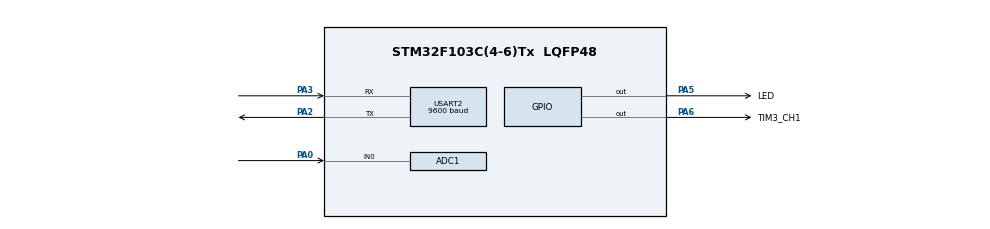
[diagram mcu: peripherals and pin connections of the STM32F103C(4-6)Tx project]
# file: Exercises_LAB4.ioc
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ADC1.Channel-0\#ChannelRegularConversion=ADC_CHANNEL_0
ADC1.ContinuousConvMode=ENABLE
ADC1.NbrOfConversionFlag=1
ADC1.Rank-0\#ChannelRegularConversion=1
ADC1.SamplingTime-0\#ChannelRegularConversion=ADC_SAMPLETIME_1CYCLE_5
ADC1.master=1
Mcu.Family=STM32F1
Mcu.Name=STM32F103C(4-6)Tx
Mcu.Package=LQFP48
NVIC.PriorityGroup=NVIC_PRIORITYGROUP_4
NVIC.TIM2_IRQn=true\:0\:0\:false\:false\:true\:true\:true
NVIC.USART2_IRQn=true\:0\:0\:false\:false\:true\:true\:true
PA0-WKUP.Signal=ADCx_IN0
PA2.Mode=Asynchronous
PA2.Signal=USART2_TX
PA3.Mode=Asynchronous
PA3.Signal=USART2_RX
PA5.GPIO_Label=LED
PA5.Signal=GPIO_Output
PA6.GPIO_Label=TIM3_CH1
PA6.Signal=GPIO_Output
ProjectManager.HeapSize=0x200
ProjectManager.StackSize=0x400
ProjectManager.TargetToolchain=STM32CubeIDE
RCC.APB1Freq_Value=8000000
RCC.APB2Freq_Value=8000000
SH.ADCx_IN0.0=ADC1_IN0,IN0
TIM2.Period=10
TIM2.Prescaler=7999
USART2.BaudRate=9600
USART2.VirtualMode=VM_ASYNC
VP_SYS_VS_ND.Mode=No_Debug
VP_TIM2_VS_ClockSourceINT.Mode=Internal
board=custom

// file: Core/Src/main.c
/* USER CODE BEGIN Header */
/**
  ******************************************************************************
  * @file           : main.c
  * @brief          : Main program body
  ******************************************************************************
  * @attention
  *
  * <h2><center>&copy; Copyright (c) 2023 STMicroelectronics.
  * All rights reserved.</center></h2>
  *
  * This software component is licensed by ST under BSD 3-Clause license,
  * the "License"; You may not use this file except in compliance with the
  * License. You may obtain a copy of the License at:
  *                        opensource.org/licenses/BSD-3-Clause
  *
  ******************************************************************************
  */
/* USER CODE END Header */
#include "main.h"

/* USER CODE BEGIN Includes */
#include <stdio.h>
#include <stdlib.h>
#include <string.h>
#include "software_timer.h"
#include "fsm.h"
/* USER CODE END Includes */

ADC_HandleTypeDef hadc1;

TIM_HandleTypeDef htim2;

UART_HandleTypeDef huart2;

void SystemClock_Config(void);
static void MX_GPIO_Init(void);
static void MX_ADC1_Init(void);
static void MX_USART2_UART_Init(void);
static void MX_TIM2_Init(void);

/* USER CODE BEGIN 0 */
void HAL_UART_RxCpltCallback(UART_HandleTypeDef *huart)
{
	if(huart->Instance == USART2)
	{
		HAL_UART_Transmit(&huart2, &buffer_var, 1, 100);
		buffer[index_buffer++] = buffer_var;
		if(index_buffer == MAX_BUFFER)
			index_buffer = 0;
		buffer_flag = 1;
		HAL_UART_Receive_IT(&huart2, &buffer_var, 1);
	}
}
/* USER CODE END 0 */

int main(void)
{

  /* MCU Configuration--------------------------------------------------------*/

  /* Reset of all peripherals, Initializes the Flash interface and the Systick. */
  HAL_Init();

  /* Configure the system clock */
  SystemClock_Config();

  /* Initialize all configured peripherals */
  MX_GPIO_Init();
  MX_ADC1_Init();
  MX_USART2_UART_Init();
  MX_TIM2_Init();
  /* USER CODE BEGIN 2 */
  HAL_TIM_Base_Start_IT(&htim2);
  HAL_UART_Receive_IT(&huart2, &buffer_var, 1);
  HAL_ADC_Start(&hadc1);
  setTimer2(100);
  /* USER CODE END 2 */

  /* Infinite loop */
  while (1)
  {

	  if (timer2_flag == 1)
	  {
		  HAL_GPIO_TogglePin(LED_GPIO_Port, LED_Pin);
		  setTimer2(100);
	  }
	  if (buffer_flag == 1)
	  {
		  command_parser_fsm();

		  buffer_flag = 0;
	  }
	  uart_communication_fsm();

  }
}

void SystemClock_Config(void)
{
  RCC_OscInitTypeDef RCC_OscInitStruct = {0};
  RCC_ClkInitTypeDef RCC_ClkInitStruct = {0};
  RCC_PeriphCLKInitTypeDef PeriphClkInit = {0};

  /** Initializes the RCC Oscillators according to the specified parameters
  * in the RCC_OscInitTypeDef structure.
  */
  RCC_OscInitStruct.OscillatorType = RCC_OSCILLATORTYPE_HSI;
  RCC_OscInitStruct.HSIState = RCC_HSI_ON;
  RCC_OscInitStruct.HSICalibrationValue = RCC_HSICALIBRATION_DEFAULT;
  RCC_OscInitStruct.PLL.PLLState = RCC_PLL_NONE;
  if (HAL_RCC_OscConfig(&RCC_OscInitStruct) != HAL_OK)
  {
    Error_Handler();
  }
  /** Initializes the CPU, AHB and APB buses clocks
  */
  RCC_ClkInitStruct.ClockType = RCC_CLOCKTYPE_HCLK|RCC_CLOCKTYPE_SYSCLK
                              |RCC_CLOCKTYPE_PCLK1|RCC_CLOCKTYPE_PCLK2;
  RCC_ClkInitStruct.SYSCLKSource = RCC_SYSCLKSOURCE_HSI;
  RCC_ClkInitStruct.AHBCLKDivider = RCC_SYSCLK_DIV1;
  RCC_ClkInitStruct.APB1CLKDivider = RCC_HCLK_DIV1;
  RCC_ClkInitStruct.APB2CLKDivider = RCC_HCLK_DIV1;

  if (HAL_RCC_ClockConfig(&RCC_ClkInitStruct, FLASH_LATENCY_0) != HAL_OK)
  {
    Error_Handler();
  }
  PeriphClkInit.PeriphClockSelection = RCC_PERIPHCLK_ADC;
  PeriphClkInit.AdcClockSelection = RCC_ADCPCLK2_DIV2;
  if (HAL_RCCEx_PeriphCLKConfig(&PeriphClkInit) != HAL_OK)
  {
    Error_Handler();
  }
}

static void MX_ADC1_Init(void)
{

  ADC_ChannelConfTypeDef sConfig = {0};

  /** Common config
  */
  hadc1.Instance = ADC1;
  hadc1.Init.ScanConvMode = ADC_SCAN_DISABLE;
  hadc1.Init.ContinuousConvMode = ENABLE;
  hadc1.Init.DiscontinuousConvMode = DISABLE;
  hadc1.Init.ExternalTrigConv = ADC_SOFTWARE_START;
  hadc1.Init.DataAlign = ADC_DATAALIGN_RIGHT;
  hadc1.Init.NbrOfConversion = 1;
  if (HAL_ADC_Init(&hadc1) != HAL_OK)
  {
    Error_Handler();
  }
  /** Configure Regular Channel
  */
  sConfig.Channel = ADC_CHANNEL_0;
  sConfig.Rank = ADC_REGULAR_RANK_1;
  sConfig.SamplingTime = ADC_SAMPLETIME_1CYCLE_5;
  if (HAL_ADC_ConfigChannel(&hadc1, &sConfig) != HAL_OK)
  {
    Error_Handler();
  }

}

static void MX_TIM2_Init(void)
{

  TIM_ClockConfigTypeDef sClockSourceConfig = {0};
  TIM_MasterConfigTypeDef sMasterConfig = {0};

  htim2.Instance = TIM2;
  htim2.Init.Prescaler = 7999;
  htim2.Init.CounterMode = TIM_COUNTERMODE_UP;
  htim2.Init.Period = 10;
  htim2.Init.ClockDivision = TIM_CLOCKDIVISION_DIV1;
  htim2.Init.AutoReloadPreload = TIM_AUTORELOAD_PRELOAD_DISABLE;
  if (HAL_TIM_Base_Init(&htim2) != HAL_OK)
  {
    Error_Handler();
  }
  sClockSourceConfig.ClockSource = TIM_CLOCKSOURCE_INTERNAL;
  if (HAL_TIM_ConfigClockSource(&htim2, &sClockSourceConfig) != HAL_OK)
  {
    Error_Handler();
  }
  sMasterConfig.MasterOutputTrigger = TIM_TRGO_RESET;
  sMasterConfig.MasterSlaveMode = TIM_MASTERSLAVEMODE_DISABLE;
  if (HAL_TIMEx_MasterConfigSynchronization(&htim2, &sMasterConfig) != HAL_OK)
  {
    Error_Handler();
  }

}

static void MX_USART2_UART_Init(void)
{

  huart2.Instance = USART2;
  huart2.Init.BaudRate = 9600;
  huart2.Init.WordLength = UART_WORDLENGTH_8B;
  huart2.Init.StopBits = UART_STOPBITS_1;
  huart2.Init.Parity = UART_PARITY_NONE;
  huart2.Init.Mode = UART_MODE_TX_RX;
  huart2.Init.HwFlowCtl = UART_HWCONTROL_NONE;
  huart2.Init.OverSampling = UART_OVERSAMPLING_16;
  if (HAL_UART_Init(&huart2) != HAL_OK)
  {
    Error_Handler();
  }

}

static void MX_GPIO_Init(void)
{
  GPIO_InitTypeDef GPIO_InitStruct = {0};

  /* GPIO Ports Clock Enable */
  __HAL_RCC_GPIOA_CLK_ENABLE();

  /*Configure GPIO pin Output Level */
  HAL_GPIO_WritePin(GPIOA, LED_Pin|TIM3_CH1_Pin, GPIO_PIN_RESET);

  /*Configure GPIO pins : LED_Pin TIM3_CH1_Pin */
  GPIO_InitStruct.Pin = LED_Pin|TIM3_CH1_Pin;
  GPIO_InitStruct.Mode = GPIO_MODE_OUTPUT_PP;
  GPIO_InitStruct.Pull = GPIO_NOPULL;
  GPIO_InitStruct.Speed = GPIO_SPEED_FREQ_LOW;
  HAL_GPIO_Init(GPIOA, &GPIO_InitStruct);

}

/* USER CODE BEGIN 4 */
void HAL_TIM_PeriodElapsedCallback(TIM_HandleTypeDef *htim)
{
	timerRun1();
	timerRun2();
}
/* USER CODE END 4 */

void Error_Handler(void)
{
  __disable_irq();
  while (1)
  {
  }
}

/************************ (C) COPYRIGHT STMicroelectronics *****END OF FILE****/
